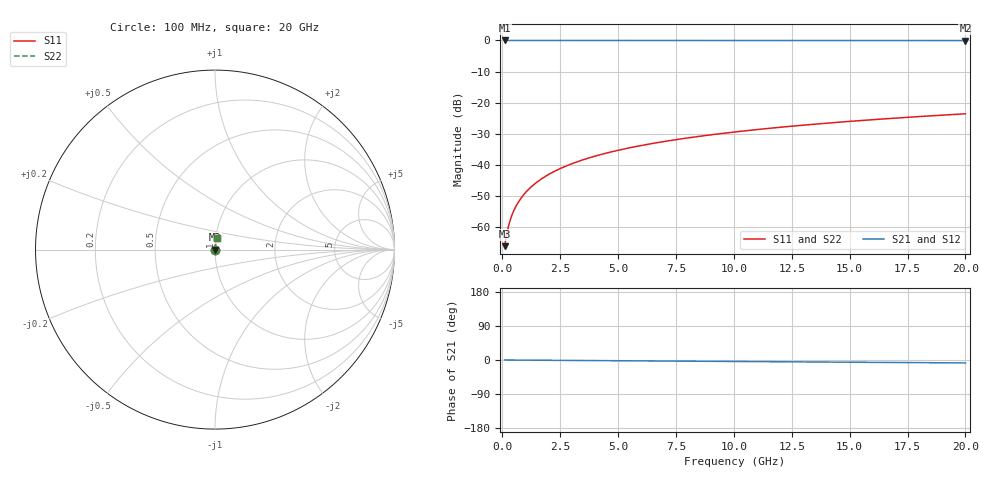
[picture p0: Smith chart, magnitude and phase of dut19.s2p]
! Touchstone file exported from HFSS 2026.1.0
!  File:  C:/ffzhzh/LocalFiles/Ansys_Project_Files/temp_train_TSV_19_1782958085_6388.aedt
!  Generated:  10:09:50 AM Jul  2, 2026
!  Design:  TSV
!  Project:  temp_train_TSV_19_1782958085_6388
! Variables:
!  h_bsmrdl = 2um
!  h_ox = 20um
!  h_rdl = 5um
!  h_sub = 63.1um
!  h_tmrdl = 5um
!  h_tsv = 63.1um
!  h_via = 3um
!  l_bsmrdl = 300um
!  l_sub = 409.94um
!  l_tmrdl = 200um
!  m_sub = 200um
!  pitch = 43.53um
!  r_tsv = 4.97um
!  s_tmrdl = 10um
!  w_bsmrdl = 18um
!  w_sub = 500um
!  w_tmrdl = 12um
!  x_tsv_center1 = 206um
!  x_tsv_center2 = 524um
!  x_tsv_center3 = 736um
!  x_tsv_center4 = 1054um
!  x_tsv_center5 = 1266um
!  x_tsv_center6 = 1584um
# GHz S MA R 50.000000
! Terminal data exported
! Port[1] = TSV1_1_T1
! Port[2] = TSV1_1_T2
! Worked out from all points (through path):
!   200 points, 100 MHz to 20 GHz, reference 50 ohm
!   highest |S21| = 0.00 dB at 100 MHz (marker M1); lowest = 0.0 dB at 20 GHz (marker M2)
!   group delay of S21, straight-line fit = 1.07 ps
!   lowest |S11| = -66.2 dB at 100 MHz (marker M3), VSWR 1.00, Z = 50 + j0.0368 ohm
!   |S11| at or under -10 dB: start of sweep to end of sweep
!   |S22| runs from -66.2 to -23.6 dB; largest |S21 - S12| = 2.3e-15
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0.1  0.0004912 48.4  0.9997 -0.0  0.9997 -0.0  0.0004912 48.4
! Gamma 0 0 0 0
! Port Impedance 50 0 50 0
0.2  0.0008054 65.3  0.9997 -0.1  0.9997 -0.1  0.0008054 65.3
0.3  0.001147 72.2  0.9997 -0.1  0.9997 -0.1  0.001147 72.2
0.4  0.001493 75.8  0.9996 -0.2  0.9996 -0.2  0.001493 75.8
0.5  0.00184 78.0  0.9996 -0.2  0.9996 -0.2  0.00184 78.0
0.7  0.00253 80.5  0.9996 -0.3  0.9996 -0.3  0.00253 80.5
0.8  0.002874 81.4  0.9996 -0.3  0.9996 -0.3  0.002874 81.4
1  0.003561 82.6  0.9996 -0.4  0.9996 -0.4  0.003561 82.6
1.2  0.004248 83.4  0.9995 -0.5  0.9995 -0.5  0.004248 83.4
1.4  0.004934 83.9  0.9995 -0.6  0.9995 -0.6  0.004934 83.9
1.7  0.005963 84.5  0.9995 -0.7  0.9995 -0.7  0.005963 84.5
2  0.00699 84.8  0.9994 -0.8  0.9994 -0.8  0.00699 84.8
2.7  0.009377 85.2  0.9993 -1.1  0.9993 -1.1  0.009377 85.2
3.5  0.01208 85.3  0.9992 -1.4  0.9992 -1.4  0.01208 85.3
4.2  0.01444 85.3  0.9991 -1.7  0.9991 -1.7  0.01444 85.3
5  0.01711 85.1  0.999 -2.0  0.999 -2.0  0.01711 85.1
6.8  0.02307 84.8  0.9987 -2.7  0.9987 -2.7  0.02307 84.8
8.3  0.02801 84.4  0.9985 -3.2  0.9985 -3.2  0.02801 84.4
10.1  0.03392 84.0  0.9982 -3.9  0.9982 -3.9  0.03392 84.0
13.4  0.04472 83.0  0.9976 -5.2  0.9976 -5.2  0.04472 83.0
16.7  0.05546 81.9  0.9969 -6.5  0.9969 -6.5  0.05546 81.9
20  0.06613 80.7  0.9961 -7.7  0.9961 -7.7  0.06613 80.7
